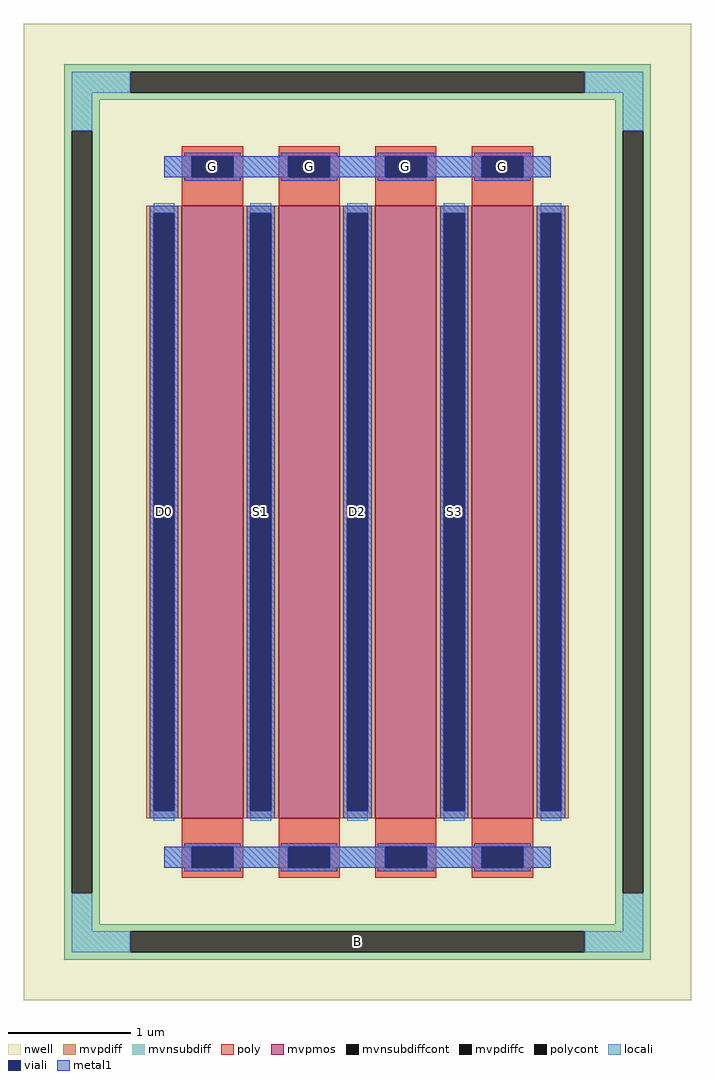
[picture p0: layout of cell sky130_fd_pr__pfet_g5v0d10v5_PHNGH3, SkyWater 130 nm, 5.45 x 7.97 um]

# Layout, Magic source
magic
tech sky130A
magscale 1 2
<< nwell >>
rect -545 -797 545 797
<< mvpmos >>
rect -287 -500 -187 500
rect -129 -500 -29 500
rect 29 -500 129 500
rect 187 -500 287 500
<< mvpdiff >>
rect -345 488 -287 500
rect -345 -488 -333 488
rect -299 -488 -287 488
rect -345 -500 -287 -488
rect -187 488 -129 500
rect -187 -488 -175 488
rect -141 -488 -129 488
rect -187 -500 -129 -488
rect -29 488 29 500
rect -29 -488 -17 488
rect 17 -488 29 488
rect -29 -500 29 -488
rect 129 488 187 500
rect 129 -488 141 488
rect 175 -488 187 488
rect 129 -500 187 -488
rect 287 488 345 500
rect 287 -488 299 488
rect 333 -488 345 488
rect 287 -500 345 -488
<< mvpdiffc >>
rect -333 -488 -299 488
rect -175 -488 -141 488
rect -17 -488 17 488
rect 141 -488 175 488
rect 299 -488 333 488
<< mvnsubdiff >>
rect -479 719 479 731
rect -479 685 -371 719
rect 371 685 479 719
rect -479 673 479 685
rect -479 623 -421 673
rect -479 -623 -467 623
rect -433 -623 -421 623
rect 421 623 479 673
rect -479 -673 -421 -623
rect 421 -623 433 623
rect 467 -623 479 623
rect 421 -673 479 -623
rect -479 -685 479 -673
rect -479 -719 -371 -685
rect 371 -719 479 -685
rect -479 -731 479 -719
<< mvnsubdiffcont >>
rect -371 685 371 719
rect -467 -623 -433 623
rect 433 -623 467 623
rect -371 -719 371 -685
<< poly >>
rect -287 581 -187 597
rect -287 547 -271 581
rect -203 547 -187 581
rect -287 500 -187 547
rect -129 581 -29 597
rect -129 547 -113 581
rect -45 547 -29 581
rect -129 500 -29 547
rect 29 581 129 597
rect 29 547 45 581
rect 113 547 129 581
rect 29 500 129 547
rect 187 581 287 597
rect 187 547 203 581
rect 271 547 287 581
rect 187 500 287 547
rect -287 -547 -187 -500
rect -287 -581 -271 -547
rect -203 -581 -187 -547
rect -287 -597 -187 -581
rect -129 -547 -29 -500
rect -129 -581 -113 -547
rect -45 -581 -29 -547
rect -129 -597 -29 -581
rect 29 -547 129 -500
rect 29 -581 45 -547
rect 113 -581 129 -547
rect 29 -597 129 -581
rect 187 -547 287 -500
rect 187 -581 203 -547
rect 271 -581 287 -547
rect 187 -597 287 -581
<< polycont >>
rect -271 547 -203 581
rect -113 547 -45 581
rect 45 547 113 581
rect 203 547 271 581
rect -271 -581 -203 -547
rect -113 -581 -45 -547
rect 45 -581 113 -547
rect 203 -581 271 -547
<< locali >>
rect -467 685 -371 719
rect 371 685 467 719
rect -467 623 -433 685
rect 433 623 467 685
rect -316 547 -271 581
rect -203 547 -113 581
rect -45 547 45 581
rect 113 547 203 581
rect 271 547 316 581
rect -333 488 -299 504
rect -333 -504 -299 -488
rect -175 488 -141 504
rect -175 -504 -141 -488
rect -17 488 17 504
rect -17 -504 17 -488
rect 141 488 175 504
rect 141 -504 175 -488
rect 299 488 333 504
rect 299 -504 333 -488
rect -316 -581 -271 -547
rect -203 -581 -113 -547
rect -45 -581 45 -547
rect 113 -581 203 -547
rect 271 -581 316 -547
rect -467 -685 -433 -623
rect 433 -685 467 -623
rect -467 -719 -371 -685
rect 371 -719 467 -685
<< viali >>
rect -271 547 -203 581
rect -113 547 -45 581
rect 45 547 113 581
rect 203 547 271 581
rect -333 -488 -299 488
rect -175 -488 -141 488
rect -17 -488 17 488
rect 141 -488 175 488
rect 299 -488 333 488
rect -271 -581 -203 -547
rect -113 -581 -45 -547
rect 45 -581 113 -547
rect 203 -581 271 -547
<< metal1 >>
rect -283 581 -191 587
rect -125 581 -33 587
rect 33 581 125 587
rect 191 581 283 587
rect -316 547 -271 581
rect -203 547 -113 581
rect -45 547 45 581
rect 113 547 203 581
rect 271 547 316 581
rect -283 541 -191 547
rect -125 541 -33 547
rect 33 541 125 547
rect 191 541 283 547
rect -339 488 -293 500
rect -339 -488 -333 488
rect -299 -488 -293 488
rect -339 -500 -293 -488
rect -181 488 -135 500
rect -181 -488 -175 488
rect -141 -488 -135 488
rect -181 -500 -135 -488
rect -23 488 23 500
rect -23 -488 -17 488
rect 17 -488 23 488
rect -23 -500 23 -488
rect 135 488 181 500
rect 135 -488 141 488
rect 175 -488 181 488
rect 135 -500 181 -488
rect 293 488 339 500
rect 293 -488 299 488
rect 333 -488 339 488
rect 293 -500 339 -488
rect -283 -547 -191 -541
rect -125 -547 -33 -541
rect 33 -547 125 -541
rect 191 -547 283 -541
rect -316 -581 -271 -547
rect -203 -581 -113 -547
rect -45 -581 45 -547
rect 113 -581 203 -547
rect 271 -581 316 -547
rect -283 -587 -191 -581
rect -125 -587 -33 -581
rect 33 -587 125 -581
rect 191 -587 283 -581
<< labels >>
rlabel mvnsubdiffcont 0 -702 0 -702 0 B
port 7 nsew
rlabel mvpdiffc -316 0 -316 0 0 D0
port 8 nsew
rlabel polycont -237 564 -237 564 0 G
port 3 nsew
rlabel mvpdiffc -158 0 -158 0 0 S1
port 9 nsew
rlabel polycont -79 564 -79 564 0 G
port 3 nsew
rlabel mvpdiffc 0 0 0 0 0 D2
port 10 nsew
rlabel polycont 79 564 79 564 0 G
port 3 nsew
rlabel mvpdiffc 158 0 158 0 0 S3
port 11 nsew
rlabel polycont 237 564 237 564 0 G
port 3 nsew
<< properties >>
string FIXED_BBOX -450 -702 450 702
string gencell sky130_fd_pr__pfet_g5v0d10v5
string library sky130
string parameters w 5 l 0.5 m 1 nf 4 diffcov 100 polycov 100 guard 1 glc 1 grc 1 gtc 1 gbc 1 tbcov 100 rlcov 100 topc 1 botc 1 poverlap 0 doverlap 1 lmin 0.50 wmin 0.42 class mosfet compatible {sky130_fd_pr__pfet_01v8  sky130_fd_pr__pfet_01v8_lvt sky130_fd_pr__pfet_01v8_hvt  sky130_fd_pr__pfet_g5v0d10v5} full_metal 1 conn_gates 1 viasrc 100 viadrn 100 viagate 100 viagb 0 viagr 0 viagl 0 viagt 0 doports 1
<< end >>
